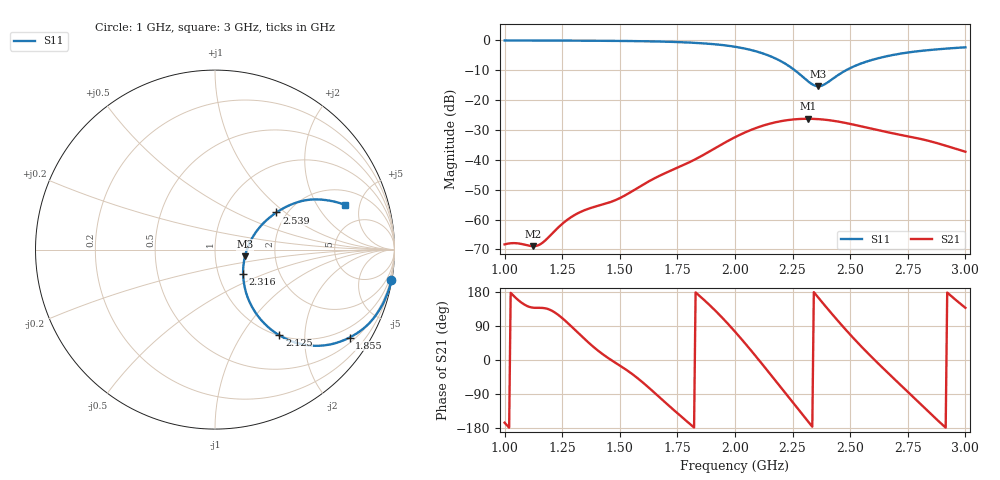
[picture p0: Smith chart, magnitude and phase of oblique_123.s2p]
! TOUCHSTONE file generated by CST MICROWAVE STUDIO
! Date and time: Tue Mar 18 00:02:09 2025
! Project name: oblique.cst
! Parameters = {Tilt=40; Fracture=1; B=10; D=160; F=5; Feed=2.85625; L=100; M=30; R=0.384908; S=2; Theta=270; length=57.125; wave=114.25}
! Header version: 2024
! Port assignment regex: !\s*Touchstone port\s*([0-9]+)\s*=\s*(CST MWS port|CST DES external port|CST DES block port)\s*(.+)\s* \(\"(.*)\"\)(\s*mode\s*([0-9]+))?.*
! Touchstone port assignment:
! Touchstone port 1 = CST MWS port 1 ("")
! Touchstone port 2 = CST MWS port 2 ("")
# GHz S DB R 50
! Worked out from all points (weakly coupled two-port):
!   305 points, 1 GHz to 3 GHz, reference 50 ohm
!   highest |S21| = -26.25 dB at 2.316 GHz (marker M1); lowest = -68.9 dB at 1.125 GHz (marker M2)
!   lowest |S11| = -15.3 dB at 2.362 GHz (marker M3), VSWR 1.41, Z = 69.8 - j5.46 ohm
!   |S11| at or under -10 dB: 2.26 GHz to 2.482 GHz (222.1 MHz wide, 9.37 % of centre)
!   S12 and S22 are empty: the file has one direction only
!   S11 on the Smith chart (normalised r, x): 1 GHz: 0, -12; 1.855 GHz: 0.65, -3.24; 2.125 GHz: 1.01, -1.49; 2.316 GHz: 1.31, -0.38; 2.539 GHz: 1.77, +0.87; 3 GHz: 3.01, +3.62
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1  -0.02 -9.8  -68.32 -165.4  -200.00 0.0  -200.00 0.0
1.04605  -0.03 -10.4  -67.90 165.3  -200.00 0.0  -200.00 0.0
1.125  -0.04 -11.5  -68.91 137.9  -200.00 0.0  -200.00 0.0
1.16447  -0.04 -12.1  -67.77 137.4  -200.00 0.0  -200.00 0.0
1.26316  -0.07 -13.8  -60.62 103.6  -200.00 0.0  -200.00 0.0
1.33553  -0.09 -15.2  -57.24 62.1  -200.00 0.0  -200.00 0.0
1.49342  -0.17 -18.8  -53.07 -12.0  -200.00 0.0  -200.00 0.0
1.67105  -0.37 -24.4  -45.39 -97.6  -200.00 0.0  -200.00 0.0
1.85526  -0.96 -33.2  -38.68 164.3  -200.00 0.0  -200.00 0.0
2  -2.13 -43.2  -32.42 74.8  -200.00 0.0  -200.00 0.0
2.06579  -3.14 -48.5  -30.09 28.0  -200.00 0.0  -200.00 0.0
2.125  -4.47 -53.1  -28.46 -16.0  -200.00 0.0  -200.00 0.0
2.22368  -8.06 -57.3  -26.74 -91.2  -200.00 0.0  -200.00 0.0
2.31579  -13.63 -41.2  -26.25 -161.2  -200.00 0.0  -200.00 0.0
2.33553  -14.72 -30.7  -26.27 -176.0  -200.00 0.0  -200.00 0.0
2.36184  -15.34 -12.8  -26.37 164.4  -200.00 0.0  -200.00 0.0
2.38816  -14.73 4.3  -26.54 145.1  -200.00 0.0  -200.00 0.0
2.44737  -11.61 25.0  -27.18 102.8  -200.00 0.0  -200.00 0.0
2.53947  -7.95 31.2  -28.65 41.2  -200.00 0.0  -200.00 0.0
2.67105  -5.10 29.2  -30.90 -38.3  -200.00 0.0  -200.00 0.0
2.83553  -3.29 23.6  -33.55 -134.1  -200.00 0.0  -200.00 0.0
3  -2.31 18.9  -37.28 137.7  -200.00 0.0  -200.00 0.0
